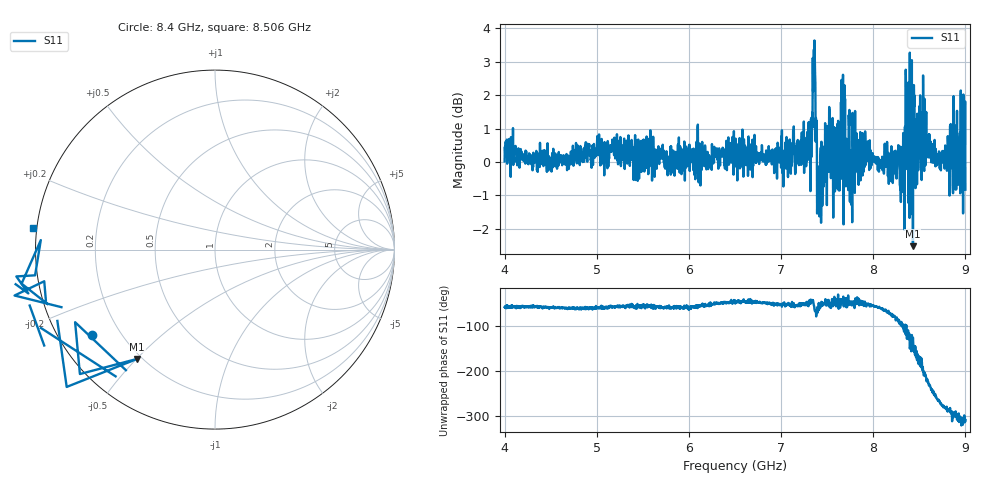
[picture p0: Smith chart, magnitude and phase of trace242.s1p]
! Created with skrf 1.8.0 (http://scikit-rf.org).
# Hz S RI R 50.0
!freq ReS11 ImS11
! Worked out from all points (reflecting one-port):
!   1601 points, 4 GHz to 9 GHz, reference 50 ohm
!   lowest |S11| = -2.5 dB at 8.431 GHz (marker M1), VSWR 6.93, Z = 9.08 - j25.1 ohm
!   phase of S11 starts at -58 deg and turns -251 deg over the sweep
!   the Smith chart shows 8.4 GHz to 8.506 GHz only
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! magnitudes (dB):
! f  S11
! 4 GHz  0.0
! 4.625 GHz  -0.1
! 5.25 GHz  0.1
! 5.875 GHz  -0.2
! 6.5 GHz  0.5
! 7.125 GHz  0.4
! 7.294 GHz  0.5
! 7.316 GHz  1.0
! 7.347 GHz  2.1
! 7.362 GHz  3.6
! 7.4 GHz  -0.6
! 7.428 GHz  0.2
! 7.509 GHz  0.0
! 7.609 GHz  0.9
! 7.669 GHz  2.0
! 7.703 GHz  -0.7
! 7.75 GHz  0.1
! 7.928 GHz  0.2
! 8.194 GHz  -0.3
! 8.259 GHz  -0.2
! 8.316 GHz  -0.9
! 8.331 GHz  -0.6
! 8.375 GHz  0.4
! 8.431 GHz  -2.5
! 8.519 GHz  1.5
! 8.712 GHz  0.3
! 8.972 GHz  0.4
! 9 GHz  -0.8
